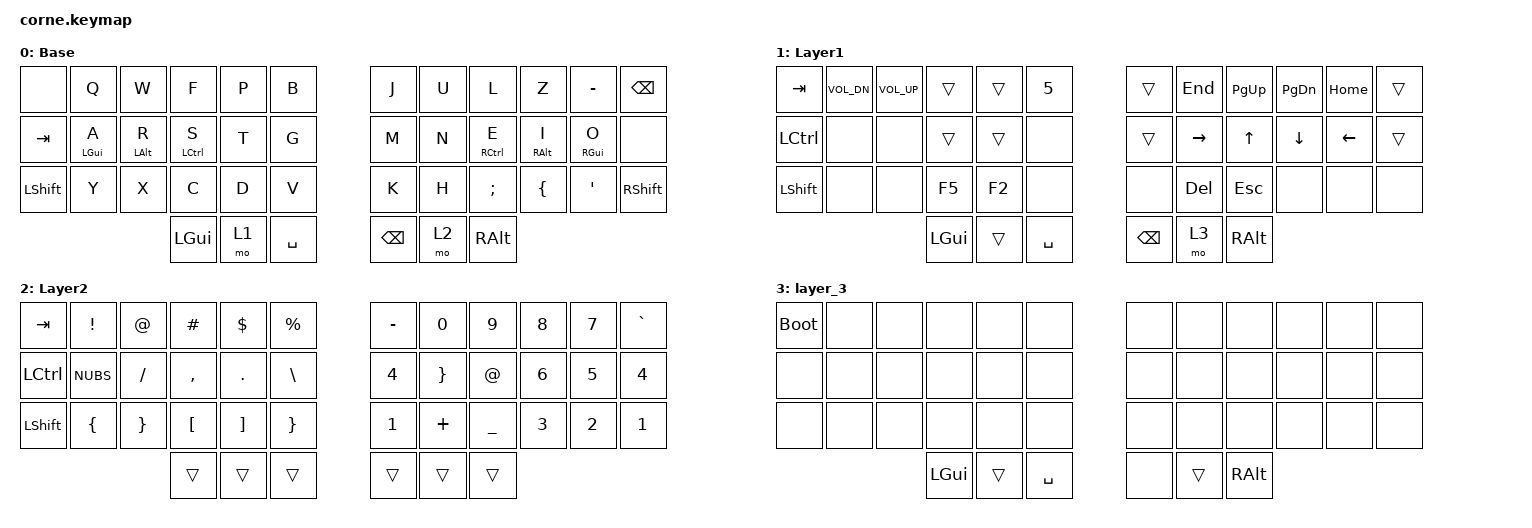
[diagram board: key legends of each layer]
/*
 * Copyright (c) 2020 The ZMK Contributors
 *
 * SPDX-License-Identifier: MIT
 */

#include <behaviors.dtsi>
#include <dt-bindings/zmk/keys.h>
#include <dt-bindings/zmk/bt.h>

#include <dt-bindings/zmk/behaviors.h>

/ {

    kscan {
       compatible = "zmk,kscan-gpio-matrix";
       diode-direction = "col2row";
       wakeup-source;
    };


    chosen {
        zmk,physical-layout = &foostan_corne_6col_layout;
    };

    behaviors {
        hml: home_row_mod_left {
            compatible = "zmk,behavior-hold-tap";
            #binding-cells = <2>;
            flavor = "balanced";
            require-prior-idle-ms = <150>;
            tapping-term-ms = <280>;
            quick-tap-ms = <175>;
            bindings = <&kp>, <&kp>;
            hold-trigger-on-release;
        };
        hmr: home_row_mod_right {
            compatible = "zmk,behavior-hold-tap";
            #binding-cells = <2>;
            flavor = "balanced";
            require-prior-idle-ms = <150>;
            tapping-term-ms = <280>;
            quick-tap-ms = <175>;
            bindings = <&kp>, <&kp>;
            hold-trigger-on-release;
        };

    };


    keymap {
        compatible = "zmk,keymap";


        default_layer {
            display-name = "Base";
            bindings = <
                &none       &kp Q           &kp W           &kp F           &kp P           &kp B                   &kp J           &kp U           &kp L           &kp Z           &kp MINUS       &kp BSPC
                &kp TAB     &hml LGUI A     &hml LALT R     &hml LCTRL S    &kp T           &kp G                   &kp M           &kp N           &hmr RCTRL E    &hmr RALT I     &hmr RGUI O     &none
                &kp LSHFT   &kp Y           &kp X           &kp C           &kp D           &kp V                   &kp K           &kp H           &kp SCLN        &kp LBRC        &kp QUOT        &kp RSHIFT
                                                            &kp LGUI        &mo 1           &kp SPACE               &kp BSPC        &mo 2           &kp RALT
            >;
        };

        layer_1 {
           display-name = "Layer1";
           bindings = <
                &kp TAB     &kp K_VOL_DN    &kp K_VOL_UP    &trans          &trans          &kp N5                  &trans          &kp END         &kp PG_UP       &kp PG_DN       &kp HOME        &trans
                &kp LCTRL   &none           &none           &trans          &trans          &none                   &trans          &kp RIGHT       &kp UP          &kp DOWN        &kp LEFT        &trans
                &kp LSHFT   &none           &none           &kp F5          &kp F2          &none                   &none           &kp DEL         &kp ESC         &none           &none           &none
                                                            &kp LGUI        &trans          &kp SPACE               &kp BSPC        &mo 3           &kp RALT
            >;
        };

        layer_2 {
           display-name = "Layer2";
           bindings = <
                &kp TAB     &kp EXCL        &kp AT          &kp HASH        &kp DLLR        &kp PRCNT               &kp MINUS       &kp N0          &kp N9          &kp N8          &kp N7          &kp GRAVE
                &kp LCTRL   &kp NUBS        &kp FSLH        &kp COMMA       &kp DOT         &kp BSLH                &kp N4          &kp RBRC        &kp AT          &kp N6          &kp N5          &kp N4
                &kp LSHFT   &kp LBRC        &kp RBRC        &kp LBKT        &kp RBKT        &kp RBRC                &kp N1          &kp PLUS        &kp UNDER       &kp N3          &kp N2          &kp N1
                                                            &trans          &trans          &trans                  &trans          &trans          &trans
            >;
        };
        layer_3 {
           bindings = <
                &bootloader &none           &none           &none           &none           &none                   &none           &none           &none           &none           &none           &none
                &none       &none           &none           &none           &none           &none                   &none           &none           &none           &none           &none           &none
                &none       &none           &none           &none           &none           &none                   &none           &none           &none           &none           &none           &none
                                                            &kp LGUI        &trans          &kp SPACE               &none           &trans          &kp RALT
            >;
        };
    };
};
